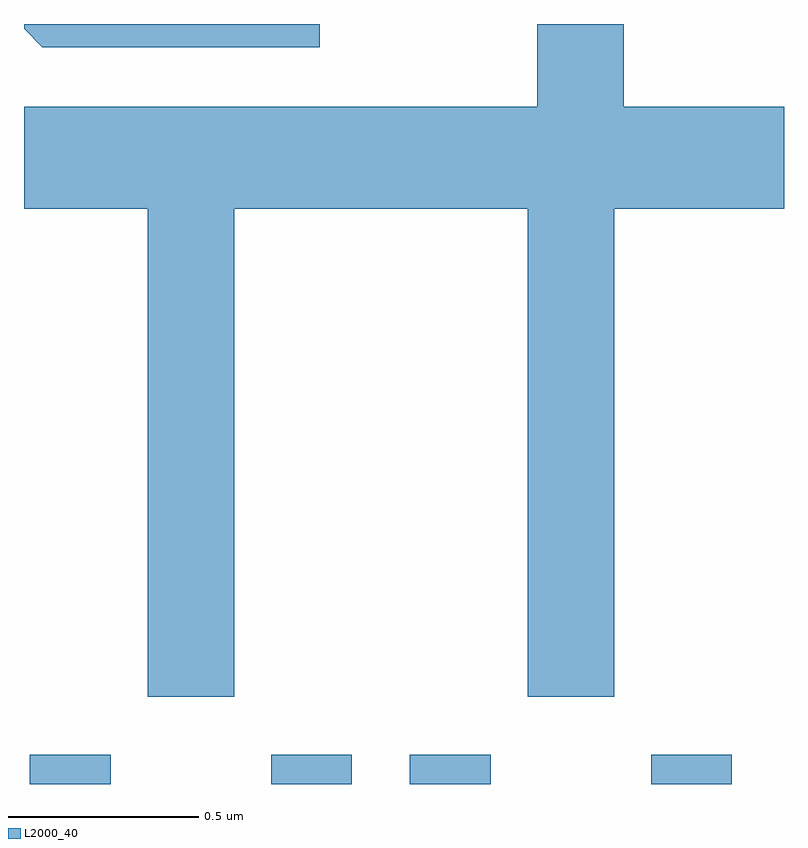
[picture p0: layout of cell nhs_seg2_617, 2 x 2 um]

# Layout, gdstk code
import gdstk
lib = gdstk.Library(unit=1e-6, precision=1e-09)
def R(c, l, rs):  # rectangles x0, y0, x1, y1
    for r in rs: c.add(gdstk.rectangle(r[:2], r[2:], *l))
def P(c, l, *ps):  # polygons
    for p in ps: c.add(gdstk.Polygon(p, *l))
L2000_40 = (2000, 40)

nhs_seg2_617 = lib.new_cell('nhs_seg2_617')
R(nhs_seg2_617, L2000_40, [(189.626,1046.802,189.839,1046.879), (190.261,1046.802,190.474,1046.879), (190.626,1046.802,190.839,1046.879), (191.261,1046.802,191.474,1046.879)])
P(nhs_seg2_617, L2000_40, [(190.164,1048.316),(190.936,1048.316),(190.936,1047.031),(191.164,1047.031),(191.164,1048.316),(191.611,1048.316),(191.611,1048.584),(191.189,1048.584),(191.189,1048.802),(190.961,1048.802),(190.961,1048.584),(189.611,1048.584),(189.611,1048.316),(189.936,1048.316),(189.936,1047.031),(190.164,1047.031)],
  [(190.389,1048.802),(189.611,1048.802),(189.611,1048.789),(189.659,1048.741),(190.389,1048.741)])

lib.write_gds('nhs_seg2_617.gds')
